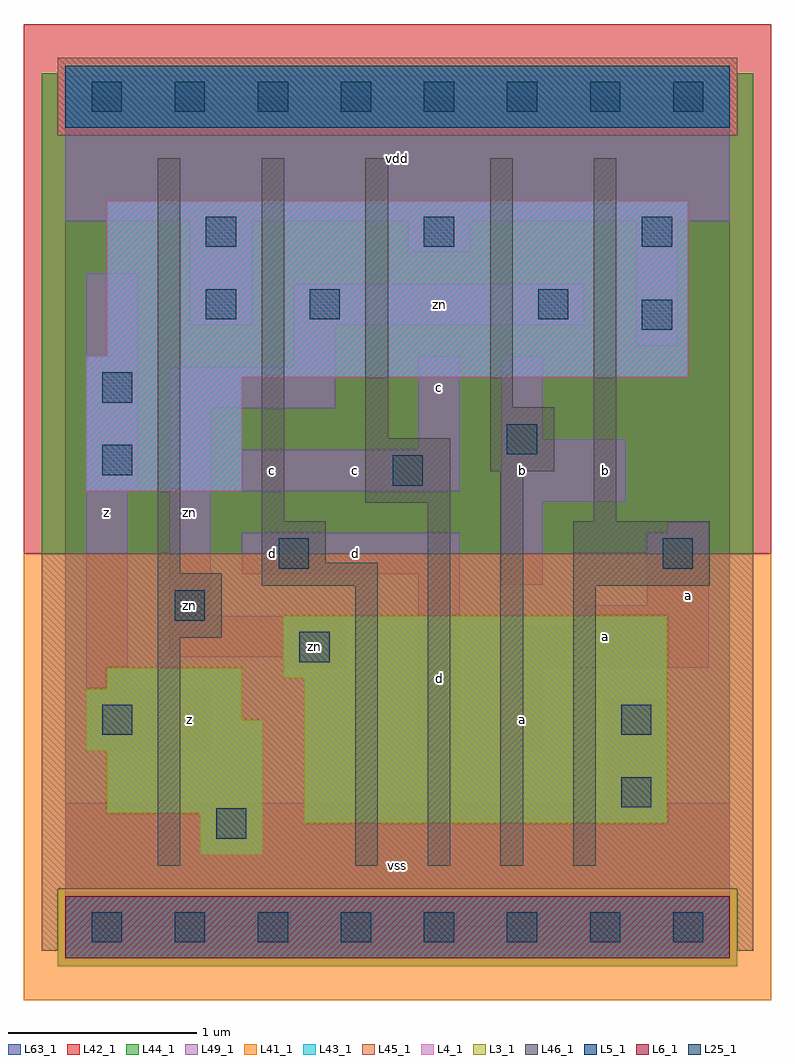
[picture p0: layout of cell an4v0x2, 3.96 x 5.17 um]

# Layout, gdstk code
import gdstk
lib = gdstk.Library(unit=1e-6, precision=1e-09)
def R(c, l, rs):  # rectangles x0, y0, x1, y1
    for r in rs: c.add(gdstk.rectangle(r[:2], r[2:], *l))
def A(c, l, x, y, w, h, nx, ny, dx, dy):  # array of equal rectangles
    R(c, l, [(x+i*dx, y+j*dy, x+i*dx+w, y+j*dy+h) for i in range(nx) for j in range(ny)])
L3_1 = (3, 1)
L4_1 = (4, 1)
L5_1 = (5, 1)
L6_1 = (6, 1)
L25_1 = (25, 1)
L41_1 = (41, 1)
L42_1 = (42, 1)
L43_1 = (43, 1)
L44_1 = (44, 1)
L45_1 = (45, 1)
L46_1 = (46, 1)
L49_1 = (49, 1)
L63_1 = (63, 1)

an4v0x2 = lib.new_cell('an4v0x2')
R(an4v0x2, L3_1, [(0.715,0.385,1.045,0.605), (1.265,0.55,3.19,1.32), (0.22,0.605,1.045,0.935), (0.11,0.935,1.045,1.1), (0.11,1.1,0.935,1.265), (0.22,1.265,0.935,1.375), (1.155,1.32,3.19,1.65)])
R(an4v0x2, L4_1, [(0.11,2.31,0.935,2.915), (0.11,2.915,3.3,3.025), (0.22,3.025,3.3,3.85)])
R(an4v0x2, L5_1, [(0,4.235,3.52,4.565)])
R(an4v0x2, L6_1, [(0,-0.165,3.52,0.165)])
A(an4v0x2, L25_1, 0.14, -0.08, 0.16, 0.16, 8, 2, 0.44, 4.4)
A(an4v0x2, L25_1, 0.745, 3.605, 0.16, 0.16, 3, 1, 1.155, 0)
R(an4v0x2, L25_1, [(0.8,0.47,0.96,0.63), (2.945,0.635,3.105,0.795), (0.195,1.02,0.355,1.18), (2.945,1.02,3.105,1.18), (1.24,1.405,1.4,1.565), (0.58,1.625,0.74,1.785), (1.13,1.9,1.29,2.06), (3.165,1.9,3.325,2.06), (1.735,2.34,1.895,2.5), (0.195,2.395,0.355,2.555), (2.34,2.505,2.5,2.665), (0.195,2.78,0.355,2.94), (3.055,3.165,3.215,3.325), (0.745,3.22,0.905,3.38), (1.295,3.22,1.455,3.38), (2.505,3.22,2.665,3.38)])
R(an4v0x2, L41_1, [(-0.22,-0.385,3.74,1.98)])
R(an4v0x2, L42_1, [(-0.22,1.98,3.74,4.785)])
R(an4v0x2, L43_1, [(0,-0.165,3.52,0.165), (0.715,0.385,1.045,0.605), (1.265,0.55,3.19,1.32), (0.22,0.605,1.045,0.935), (0.11,0.935,1.045,1.1), (0.11,1.1,0.935,1.265), (0.22,1.265,0.935,1.375), (1.155,1.32,3.19,1.65), (0.11,2.31,0.935,2.915), (0.11,2.915,3.3,3.025), (0.22,3.025,3.3,3.85), (0,4.235,3.52,4.565)])
R(an4v0x2, L44_1, [(-0.04,-0.205,3.56,0.205), (-0.125,1.98,3.645,4.195), (-0.125,4.195,-0.04,4.525), (3.56,4.195,3.645,4.525)])
R(an4v0x2, L45_1, [(-0.125,-0.125,-0.04,0.205), (3.56,-0.125,3.645,0.205), (-0.125,0.205,3.645,1.98), (-0.04,4.195,3.56,4.605)])
R(an4v0x2, L46_1, [(0.49,0.325,0.61,1.535), (1.535,0.325,1.655,1.81), (1.92,0.325,2.04,2.25), (2.305,0.325,2.425,2.415), (2.69,0.325,2.81,1.81), (0.49,1.535,0.83,1.875), (1.04,1.81,1.655,1.93), (2.69,1.81,3.415,2.15), (0.49,1.875,0.61,4.075), (1.04,1.93,1.38,2.15), (1.04,2.15,1.16,4.075), (2.8,2.15,2.92,4.075), (1.59,2.25,2.04,2.59), (2.25,2.415,2.59,2.755), (1.59,2.59,1.71,4.075), (2.25,2.755,2.37,4.075)])
R(an4v0x2, L49_1, [(0,-0.11,3.52,0.66), (2.86,0.66,3.19,1.21), (0.11,0.935,0.77,1.265), (1.87,0.935,2.09,1.87), (2.31,0.935,2.53,1.375), (0.11,1.265,0.33,2.31), (1.155,1.375,1.485,1.43), (2.31,1.375,3.41,1.595), (0.55,1.43,1.485,1.65), (2.75,1.595,3.41,1.705), (0.55,1.65,0.77,2.75), (3.08,1.705,3.41,2.09), (2.31,1.815,2.53,2.255), (0.935,1.87,2.09,2.09), (3.19,2.09,3.41,2.145), (2.31,2.255,2.97,2.585), (0.11,2.31,0.385,3.465), (0.935,2.31,2.09,2.53), (1.87,2.53,2.09,3.025), (2.31,2.585,2.53,3.025), (0.55,2.75,1.43,2.97), (1.21,2.97,1.43,3.19), (3.025,3.08,3.245,3.74), (0.66,3.19,0.99,3.74), (1.21,3.19,2.75,3.41), (1.815,3.575,2.145,3.74), (0,3.74,3.52,4.51)])
R(an4v0x2, L63_1, [(0,0,3.52,4.4)])
an4v0x2.add(gdstk.Label('zn', (0.66,1.705), layer=49, texttype=1))
an4v0x2.add(gdstk.Label('z', (0.22,2.2), layer=49, texttype=1))
an4v0x2.add(gdstk.Label('z', (0.66,1.1), layer=49, texttype=1))
an4v0x2.add(gdstk.Label('c', (1.1,2.42), layer=49, texttype=1))
an4v0x2.add(gdstk.Label('d', (1.1,1.98), layer=49, texttype=1))
an4v0x2.add(gdstk.Label('zn', (0.66,2.2), layer=49, texttype=1))
an4v0x2.add(gdstk.Label('vss', (1.76,0.33), layer=49, texttype=1))
an4v0x2.add(gdstk.Label('zn', (1.32,1.485), layer=49, texttype=1))
an4v0x2.add(gdstk.Label('d', (1.98,1.32), layer=49, texttype=1))
an4v0x2.add(gdstk.Label('d', (1.54,1.98), layer=49, texttype=1))
an4v0x2.add(gdstk.Label('c', (1.54,2.42), layer=49, texttype=1))
an4v0x2.add(gdstk.Label('c', (1.98,2.86), layer=49, texttype=1))
an4v0x2.add(gdstk.Label('vdd', (1.76,4.07), layer=49, texttype=1))
an4v0x2.add(gdstk.Label('a', (2.42,1.1), layer=49, texttype=1))
an4v0x2.add(gdstk.Label('b', (2.42,2.42), layer=49, texttype=1))
an4v0x2.add(gdstk.Label('zn', (1.98,3.3), layer=49, texttype=1))
an4v0x2.add(gdstk.Label('a', (2.86,1.54), layer=49, texttype=1))
an4v0x2.add(gdstk.Label('a', (3.3,1.76), layer=49, texttype=1))
an4v0x2.add(gdstk.Label('b', (2.86,2.42), layer=49, texttype=1))

lib.write_gds('an4v0x2.gds')
